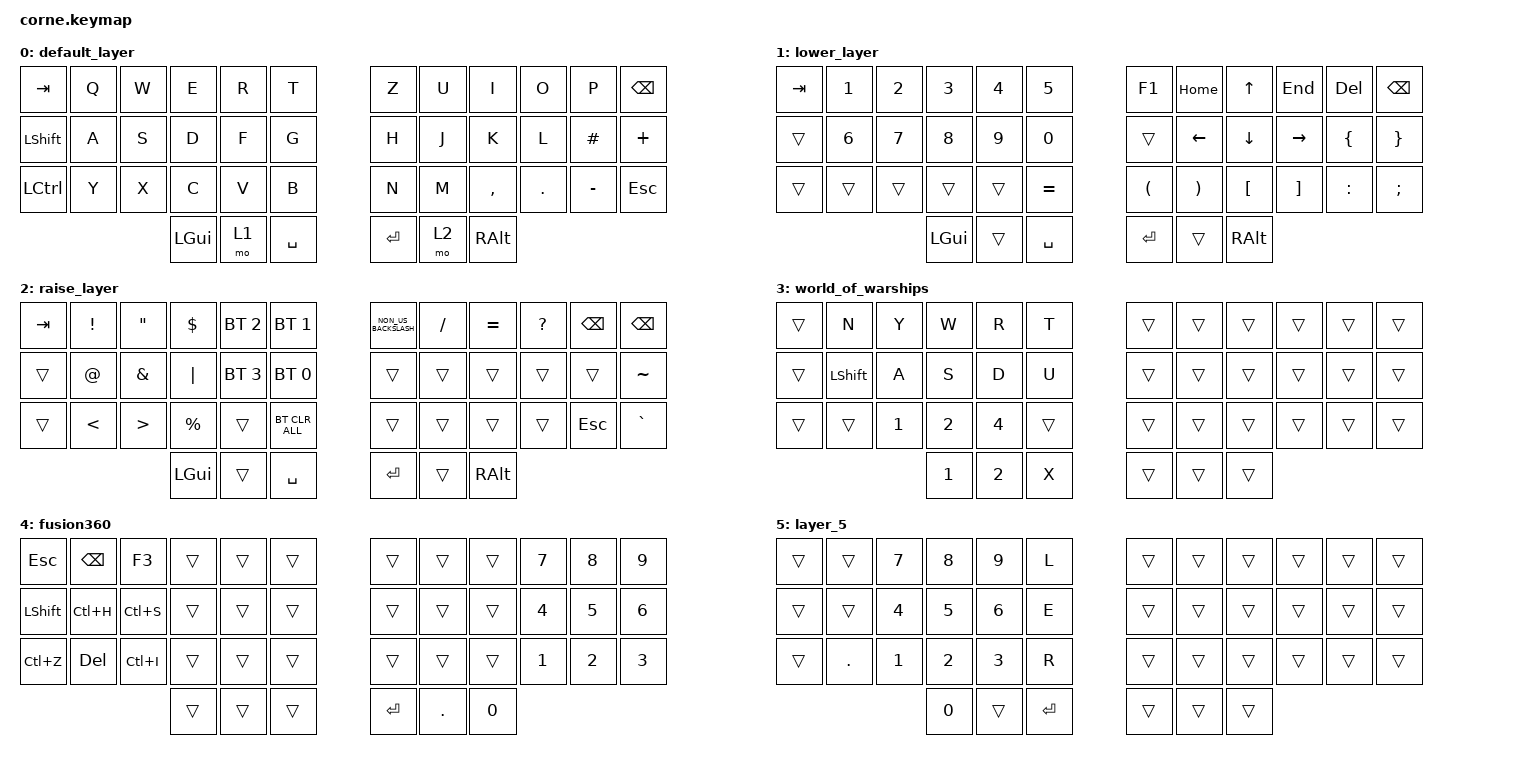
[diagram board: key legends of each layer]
/*
 * Copyright (c) 2020 The ZMK Contributors
 *
 * SPDX-License-Identifier: MIT
 */

#include <behaviors.dtsi>
#include <dt-bindings/zmk/bt.h>
#include <dt-bindings/zmk/keys.h>

/ {
    combos {
        compatible = "zmk,combos";

        mul {
            bindings = <&kp ASTERISK>;
            key-positions = <23 12>;
            timeout-ms = <100>;
            layers = <0>;
        };

        aps {
            bindings = <&kp APOS>;
            key-positions = <22 12>;
            timeout-ms = <100>;
            layers = <0>;
        };

        toggleLayer_SE {
            bindings = <&tog 4>;
            key-positions = <13 25>;
            timeout-ms = <100>;
        };

        se_redo {
            bindings = <&kp LC(Y)>;
            key-positions = <24 12>;
            timeout-ms = <100>;
            layers = <4>;
        };

        toggle_layer_wow {
            bindings = <&tog 3>;
            key-positions = <0 11>;
            timeout-ms = <100>;
        };
    };

    keymap {
        compatible = "zmk,keymap";

        default_layer {
            // -----------------------------------------------------------------------------------------
            // |  TAB |  Q @|  W  |  E  |  R  |  T  |   |  Z  |  U   |  I  |  O  |  P  | BKSP  |
            // | SHFT |  A  |  S  |  D  |  F  |  G  |   |  H  |  J   |  K  |  L  |  #' |  +* ~ |
            // | CTRL |  Y  |  X  |  C  |  V  |  B  |   |  N  |  M   |  ,; |  .: |  -_ | ESC   |
            //                    | GUI | LWR | SPC |   | ENT | RSE  | ALT |

            bindings = <
&kp TAB         &kp Q  &kp W  &kp E     &kp R  &kp T        &kp Z    &kp U  &kp I      &kp O    &kp P      &kp BSPC
&kp LEFT_SHIFT  &kp A  &kp S  &kp D     &kp F  &kp G        &kp H    &kp J  &kp K      &kp L    &kp HASH   &kp PLUS
&kp LCTRL       &kp Y  &kp X  &kp C     &kp V  &kp B        &kp N    &kp M  &kp COMMA  &kp DOT  &kp MINUS  &kp ESC
                              &kp LGUI  &mo 1  &kp SPACE    &kp RET  &mo 2  &kp RALT
            >;
        };

        lower_layer {
            // -----------------------------------------------------------------------------------------
            // |  TAB |  1  |  2  |  3  |  4  |  5  |     | F1    |     |  /  | DEL |  ?  | BKSP |
            // | SHFT |  6  |  7  |  8  |  9  |  0  |     | BTCLR |     |     | HME | UP  | END  |
            // | CTRL |     |     |     |     |     |     | BT1   | BT2 | BT3 | LFT | DWN | RGT  |
            //                    | GUI |     | SPC |     | ENT   |     | ALT |

            bindings = <
&kp TAB  &kp N1  &kp N2  &kp N3    &kp N4  &kp N5       &kp F1                &kp HOME               &kp UP_ARROW      &kp END            &kp DELETE      &kp BSPC
&trans   &kp N6  &kp N7  &kp N8    &kp N9  &kp N0       &trans                &kp LEFT               &kp DOWN_ARROW    &kp RIGHT          &kp LEFT_BRACE  &kp RIGHT_BRACE
&trans   &trans  &trans  &trans    &trans  &kp EQUAL    &kp LEFT_PARENTHESIS  &kp RIGHT_PARENTHESIS  &kp LEFT_BRACKET  &kp RIGHT_BRACKET  &kp COLON       &kp SEMICOLON
                         &kp LGUI  &trans  &kp SPACE    &kp RET               &trans                 &kp RALT
            >;
        };

        raise_layer {
            // ----------------------------------------------------------------------------------------- 
            // |  TAB |  !  |  "  |  #  |  $  |  %  |   |  &  |  ^  |  *  |  (  |  )  | BKSP |
            // | SHFT |  =  |  +  |  -  |  @  |     |   |     |     |  \  |  [  |  ]  |  ~   |
            // | CTRL |  <  |  >  |     |     |     |   |  _  |     | "|" |  {  |  }  |  `   |
            //                    | GUI |     | SPC |   | ENT |     | ALT |

            bindings = <
&kp TAB  &kp EXCL     &kp DQT        &kp DOLLAR   &bt BT_SEL 2  &bt BT_SEL 1      &kp NON_US_BACKSLASH  &kp SLASH  &kp EQUAL  &kp QUESTION  &kp BACKSPACE  &kp BSPC
&trans   &kp AT_SIGN  &kp AMPERSAND  &kp PIPE     &bt BT_SEL 3  &bt BT_SEL 0      &trans                &trans     &trans     &trans        &trans         &kp TILDE
&trans   &kp LT       &kp GT         &kp PERCENT  &trans        &bt BT_CLR_ALL    &trans                &trans     &trans     &trans        &kp ESCAPE     &kp GRAVE
                                     &kp LGUI     &trans        &kp SPACE         &kp RET               &trans     &kp RALT
            >;
        };

        world_of_warships {
            bindings = <
&trans  &kp N      &kp Y   &kp W         &kp R         &kp T     &trans  &trans  &trans  &trans  &trans  &trans
&trans  &kp LSHFT  &kp A   &kp S         &kp D         &kp U     &trans  &trans  &trans  &trans  &trans  &trans
&trans  &trans     &kp N1  &kp N2        &kp N4        &trans    &trans  &trans  &trans  &trans  &trans  &trans
                           &kp NUMBER_1  &kp NUMBER_2  &kp X     &trans  &trans  &trans
            >;
        };

        fusion360 {
            bindings = <
&kp ESCAPE      &kp BACKSPACE  &kp F3     &trans  &trans  &trans    &trans     &trans      &trans  &kp N7        &kp N8        &kp N9
&kp LEFT_SHIFT  &kp LC(H)      &kp LC(S)  &trans  &trans  &trans    &trans     &trans      &trans  &kp NUMBER_4  &kp N5        &kp NUMBER_6
&kp LC(Z)       &kp DEL        &kp LC(I)  &trans  &trans  &trans    &trans     &trans      &trans  &kp NUMBER_1  &kp NUMBER_2  &kp NUMBER_3
                                          &trans  &trans  &trans    &kp ENTER  &kp PERIOD  &kp N0
            >;
        };

        layer_5 {
            bindings = <
&trans  &trans      &kp NUMBER_7  &kp N8        &kp N9        &kp L        &trans  &trans  &trans  &trans  &trans  &trans
&trans  &trans      &kp NUMBER_4  &kp N5        &kp NUMBER_6  &kp E        &trans  &trans  &trans  &trans  &trans  &trans
&trans  &kp PERIOD  &kp NUMBER_1  &kp NUMBER_2  &kp NUMBER_3  &kp R        &trans  &trans  &trans  &trans  &trans  &trans
                                  &kp N0        &trans        &kp ENTER    &trans  &trans  &trans
            >;
        };
    };
};
